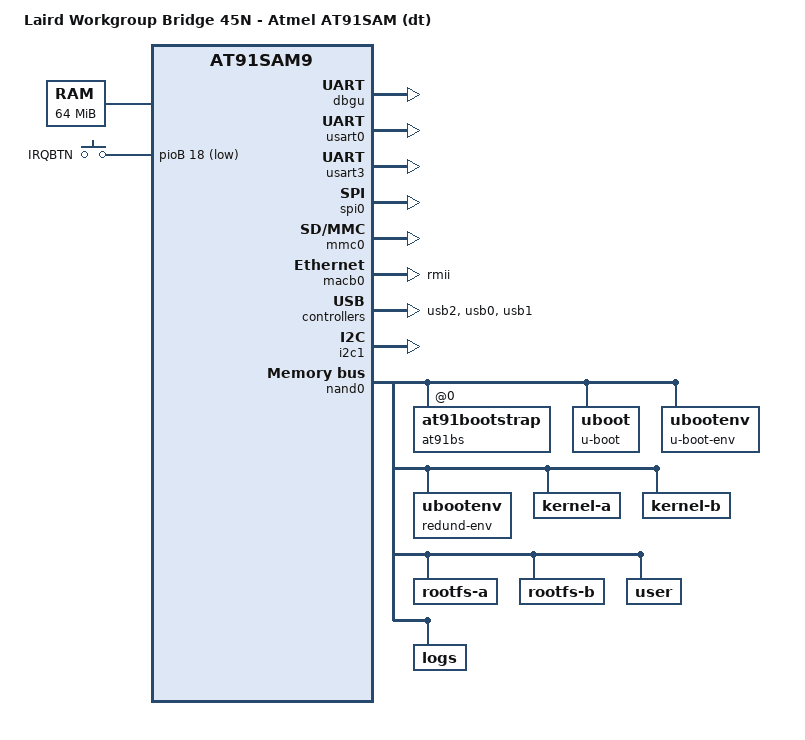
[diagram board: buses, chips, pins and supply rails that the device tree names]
// SPDX-License-Identifier: GPL-2.0-or-later
/*
 * wb45n.dts - Device Tree file for WB45NBT board
 *
 *  Copyright (C) 2015 Laird
 */

/dts-v1/;
#include "at91sam9g25.dtsi"

/ {
	model = "Laird Workgroup Bridge 45N - Atmel AT91SAM (dt)";
	compatible = "laird,wb45n", "laird,wbxx", "atmel,at91sam9x5", "atmel,at91sam9";

	chosen {
		bootargs = "console=ttyS0,115200 root=/dev/mtdblock1 rw rootfstype=ubifs ubi.mtd=1 root=ubi0:rootfs";
	};

	memory {
		reg = <0x20000000 0x4000000>;
	};

	clocks {
		#address-cells = <1>;
		#size-cells = <1>;
		ranges;

		main_clock: clock@0 {
			compatible = "atmel,osc", "fixed-clock";
			clock-frequency = <12000000>;
		};

		slow_xtal {
			clock-frequency = <32768>;
		};

		main_xtal {
			clock-frequency = <12000000>;
		};
	};

	ahb {
		apb {

			rstc@fffffe00 {
				compatible = "atmel,sama5d3-rstc";
			};

			pinctrl@fffff400 {
				nand {
					pinctrl_nand: nand-0 {
						atmel,pins =
							<AT91_PIOD 0 AT91_PERIPH_A AT91_PINCTRL_NONE	/* PD0 periph A Read Enable */
							 AT91_PIOD 1 AT91_PERIPH_A AT91_PINCTRL_NONE	/* PD1 periph A Write Enable */
							 AT91_PIOD 2 AT91_PERIPH_A AT91_PINCTRL_NONE	/* PD2 periph A Address Latch Enable */
							 AT91_PIOD 3 AT91_PERIPH_A AT91_PINCTRL_NONE	/* PD3 periph A Command Latch Enable */
							 AT91_PIOD 4 AT91_PERIPH_GPIO AT91_PINCTRL_PULL_UP	/* PD4 gpio Chip Enable pin pull_up */
							 AT91_PIOD 5 AT91_PERIPH_GPIO AT91_PINCTRL_PULL_UP>;  /* PD5 gpio RDY/BUSY pin pull_up */
					};
				};

				usb2 {
					pinctrl_board_usb2: usb2-board {
						atmel,pins =
							<AT91_PIOB 11 AT91_PERIPH_GPIO AT91_PINCTRL_DEGLITCH>;		/* PB11 gpio vbus sense, deglitch */
					};
				};
			};

			dbgu: serial@fffff200 {
				status = "okay";
			};

			usart0: serial@f801c000 {
				status = "okay";
			};

			usart3: serial@f8028000 {
				status = "okay";
			};

			spi0: spi@f0000000 {
				status = "okay";
				cs-gpios = <&pioA 14 0>, <&pioA 7 0>, <0>, <0>;
			};

			mmc0: mmc@f0008000 {
				pinctrl-0 = <
					&pinctrl_mmc0_slot0_clk_cmd_dat0
					&pinctrl_mmc0_slot0_dat1_3>;
				status = "okay";
				/delete-property/dmas;
				/delete-property/dma-names;
				slot@0 {
					reg = <0>;
					bus-width = <4>;
				};
			};

			macb0: ethernet@f802c000 {
				phy-mode = "rmii";
				status = "okay";
			};

			usb2: gadget@f803c000 {
				pinctrl-names = "default";
				pinctrl-0 = <&pinctrl_board_usb2>;
				atmel,vbus-gpio = <&pioB 11 GPIO_ACTIVE_HIGH>;
				status = "okay";
			};

			i2c1: i2c@f8014000 {
				status = "okay";
			};

			watchdog@fffffe40 {
				status = "okay";
			};

			shdwc@fffffe10 {
				atmel,wakeup-mode = "low";
			};

			rtc@fffffeb0 {
				status = "okay";
			};
		};

		usb0: ohci@00600000 {
			status = "okay";
			num-ports = <2>;
			atmel,vbus-gpio = <
					   &pioB 12 GPIO_ACTIVE_HIGH
					   &pioA 31 GPIO_ACTIVE_HIGH
					  >;
			atmel,oc-gpio = <&pioB 13 GPIO_ACTIVE_LOW>;
		};

		usb1: ehci@00700000 {
			status = "okay";
		};

		nand0: nand@40000000 {
			nand-bus-width = <8>;
			nand-ecc-mode = "hw";
			atmel,has-pmecc;	/* Enable PMECC */
			atmel,pmecc-cap = <4>;
			atmel,pmecc-sector-size = <512>;
			nand-on-flash-bbt;
			status = "okay";

			at91bootstrap@0 {
				label = "at91bs";
				reg = <0x0 0x20000>;
			};

			uboot@20000 {
				label = "u-boot";
				reg = <0x20000 0x80000>;
			};

			ubootenv@a0000 {
				label = "u-boot-env";
				reg = <0xa0000 0x20000>;
			};

			ubootenv@c0000 {
				label = "redund-env";
				reg = <0xc0000 0x20000>;
			};

			kernel-a@e0000 {
				label = "kernel-a";
				reg = <0xe0000 0x280000>;
			};

			kernel-b@360000 {
				label = "kernel-b";
				reg = <0x360000 0x280000>;
			};

			rootfs-a@5e0000 {
				label = "rootfs-a";
				reg = <0x5e0000 0x2600000>;
			};

			rootfs-b@2be0000 {
				label = "rootfs-b";
				reg = <0x2be0000 0x2600000>;
			};

			user@51e0000 {
				label = "user";
				reg = <0x51e0000 0x2dc0000>;
			};

			logs@7fa0000 {
				label = "logs";
				reg = <0x7fa0000 0x60000>;
			};
		};
	};

	atheros {
		compatible = "atheros,ath6kl";
		atheros,board-id = "SD32";
	};

	keys {
		compatible = "gpio-keys";
		#address-cells = <1>;
		#size-cells = <0>;
		irqbtn@pb18 {
			label = "IRQBTN";
			linux,code = <99>;
			gpios = <&pioB 18 GPIO_ACTIVE_LOW>;
			gpio-key,wakeup = <1>;
		};
	};
};
